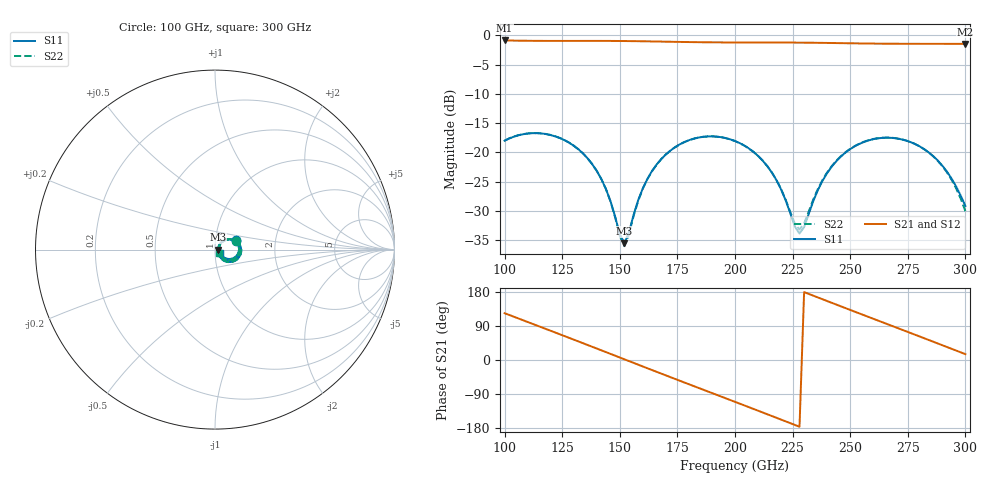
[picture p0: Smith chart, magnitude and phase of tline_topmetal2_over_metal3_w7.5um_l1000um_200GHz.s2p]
#  GHZ S DB R 50
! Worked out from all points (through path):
!   101 points, 100 GHz to 300 GHz, reference 50 ohm
!   highest |S21| = -0.85 dB at 100 GHz (marker M1); lowest = -1.4 dB at 300 GHz (marker M2)
!   group delay of S21, straight-line fit = 6.51 ps
!   lowest |S11| = -35.5 dB at 152 GHz (marker M3), VSWR 1.03, Z = 51.7 - j0.0266 ohm
!   |S11| at or under -10 dB: start of sweep to end of sweep
!   |S22| runs from -36.0 to -16.7 dB; largest |S21 - S12| = 1.6e-13
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100  -17.99 24.0  -0.85 123.5  -0.85 123.5  -17.96 23.2
108  -16.89 7.7  -0.90 104.9  -0.90 104.9  -16.86 7.0
116  -16.75 -8.7  -0.92 86.4  -0.92 86.4  -16.73 -9.4
124  -17.54 -24.9  -0.93 67.8  -0.93 67.8  -17.52 -25.7
134  -20.16 -43.9  -0.93 44.4  -0.93 44.4  -20.15 -44.9
144  -26.26 -55.7  -0.93 20.8  -0.93 20.8  -26.28 -57.2
152  -35.50 -0.9  -0.95 1.8  -0.95 1.8  -36.02 -1.6
160  -26.12 48.9  -0.99 -17.1  -0.99 -17.1  -26.19 49.5
168  -21.12 40.2  -1.04 -35.9  -1.04 -35.9  -21.14 40.4
184  -17.46 10.3  -1.15 -73.3  -1.15 -73.3  -17.47 10.3
200  -18.04 -21.1  -1.19 -110.4  -1.19 -110.4  -18.05 -21.1
216  -23.43 -46.7  -1.20 -147.8  -1.20 -147.8  -23.41 -46.0
228  -33.85 -0.8  -1.22 -176.1  -1.22 -176.1  -33.16 -0.5
234  -28.29 45.0  -1.24 169.7  -1.24 169.7  -28.00 42.4
240  -23.52 46.2  -1.28 155.6  -1.28 155.6  -23.40 43.9
248  -20.00 35.1  -1.32 136.8  -1.32 136.8  -19.94 33.1
258  -17.93 16.9  -1.38 113.5  -1.38 113.5  -17.89 14.9
268  -17.50 -2.3  -1.41 90.3  -1.41 90.3  -17.48 -4.5
278  -18.53 -21.0  -1.42 67.0  -1.42 67.0  -18.52 -23.8
288  -21.37 -36.7  -1.42 43.7  -1.42 43.7  -21.43 -40.8
294  -24.46 -41.4  -1.43 29.6  -1.43 29.6  -24.66 -47.1
300  -29.13 -31.7  -1.44 15.4  -1.44 15.4  -30.03 -40.1
